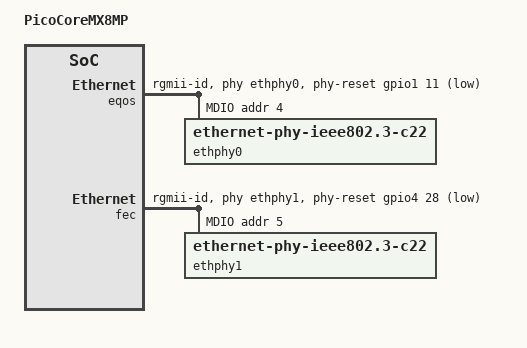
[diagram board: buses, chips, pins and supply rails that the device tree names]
/*
* Copyright 2019-2021 F&S Elektronik Systeme GmbH
*
* This program is free software; you can redistribute it and/or
* modify it under the terms of the GNU General Public License
* as published by the Free Software Foundation; either version 2
* of the License, or (at your option) any later version.
*
* This program is distributed in the hope that it will be useful,
* but WITHOUT ANY WARRANTY; without even the implied warranty of
* MERCHANTABILITY or FITNESS FOR A PARTICULAR PURPOSE.  See the
* GNU General Public License for more details.
*/

/dts-v1/;

/* Set board revision as 3-digit number, e.g. 110 for board rev. 1.10 */
#define CONFIG_PICOCOREMX8MP_BOARD_REVISION	100

 /* Network */
/* Use FIXED_SPEED and LEGACY_ETH for now */
#define CONFIG_PICOCOREMX8MP_ETH

/* USB */
#define CONFIG_PICOCOREMX8MP_USB_OTG
#define CONFIG_PICOCOREMX8MP_USB_HOST

#include "picocoremx8mp.dtsi"

/ {
	model = "PicoCoreMX8MP";
};

&eqos {
	/delete-property/ assigned-clocks;
	/delete-property/ assigned-clock-parents;
	/delete-property/ assigned-clock-rates;
	compatible = "fsl,imx-eqos";
	pinctrl-names = "default";
	pinctrl-0 = <&pinctrl_eqos>;
	phy-mode = "rgmii-id";
	phy-handle = <&ethphy0>;
	phy-reset-gpios = <&gpio1 11 GPIO_ACTIVE_LOW>;
	phy-reset-duration = <1>;
	status = "okay";

	mdio {
		compatible = "snps,dwmac-mdio";
		#address-cells = <1>;
		#size-cells = <0>;

		ethphy0: ethernet-phy@4 {
			compatible = "ethernet-phy-ieee802.3-c22";
			reg = <4>;
			eee-broken-1000t;
		};
	};
};

&fec {
	pinctrl-names = "default";
	pinctrl-0 = <&pinctrl_fec>;
	phy-mode = "rgmii-id";
	phy-handle = <&ethphy1>;
	fsl,magic-packet;
	phy-reset-gpios = <&gpio4 28 GPIO_ACTIVE_LOW>;
	phy-reset-duration = <1>;
	status = "okay";

	mdio {
		#address-cells = <1>;
		#size-cells = <0>;

		ethphy1: ethernet-phy@5 {
			compatible = "ethernet-phy-ieee802.3-c22";
			reg = <5>;
			eee-broken-1000t;
		};
	};
};

&gpio1 {
	pinctrl-names = "gpiotest-MISC", "gpiotest-AUDIO", "gpiotest-SPI", "gpiotest-ETH";

	pinctrl-3 = <&pinctrl_eqos_gpio>;
	out-pins-ETH = "ETH_A_D1P", "ETH_A_D2P", "ETH_A_D3P", "ETH_A_D4P","ETH_B_D1P", "ETH_B_D2P", "ETH_B_D3P", "ETH_B_D4P";
	out-gpios-ETH = <&gpio1 16 0>, <&gpio1 23 0>, <&gpio1 21 0>, <&gpio1 19 0>, <&gpio1 25 0>, <&gpio1 26 0>, <&gpio1 28 0>, <&gpio1 11 0>;
	in-pins-ETH =  "ETH_A_N1P", "ETH_A_N2P", "ETH_A_N3P", "ETH_A_N4P","ETH_B_N1P", "ETH_B_N2P", "ETH_B_N3P", "ETH_B_N4P";
	in-gpios-ETH = <&gpio1 17 0>, <&gpio1 22 0>, <&gpio1 20 0>, <&gpio1 18 0>, <&gpio1 24 0>, <&gpio1 27 0>, <&gpio1 29 0>, <&gpio1 4 0>;

	status = "okay";
};
